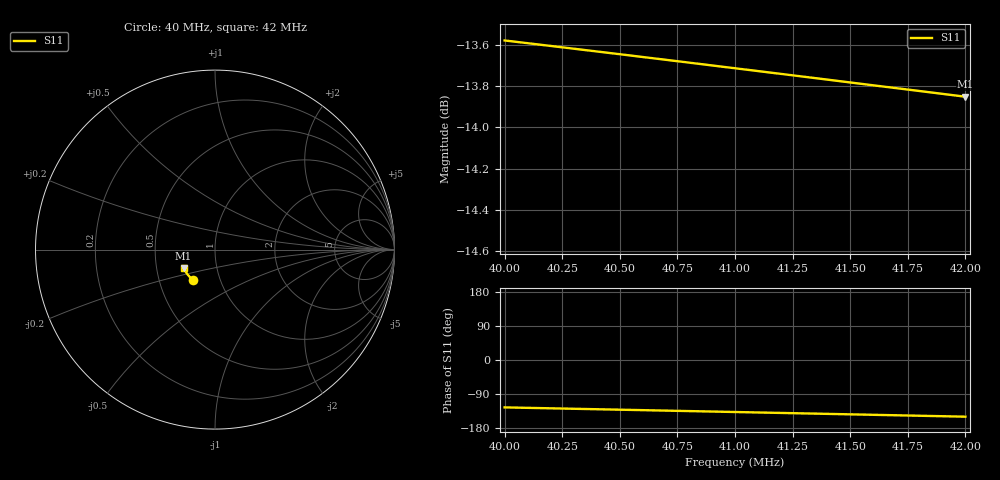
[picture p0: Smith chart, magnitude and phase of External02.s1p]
# Hz S RI R 50
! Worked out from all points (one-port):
!   9 points, 40 MHz to 42 MHz, reference 50 ohm
!   lowest |S11| = -13.9 dB at 42 MHz (marker M1), VSWR 1.51, Z = 34.5 - j7.39 ohm
!   |S11| at or under -10 dB: start of sweep to end of sweep
4e7  -0.1203 -0.1715
4.025e7  -0.1287 -0.1642
4.05e7  -0.1367 -0.1566
4.075e7  -0.1443 -0.1485
4.1e7  -0.1514 -0.14
4.125e7  -0.1581 -0.1312
4.15e7  -0.1643 -0.122
4.175e7  -0.1699 -0.1125
4.2e7  -0.1751 -0.1028
